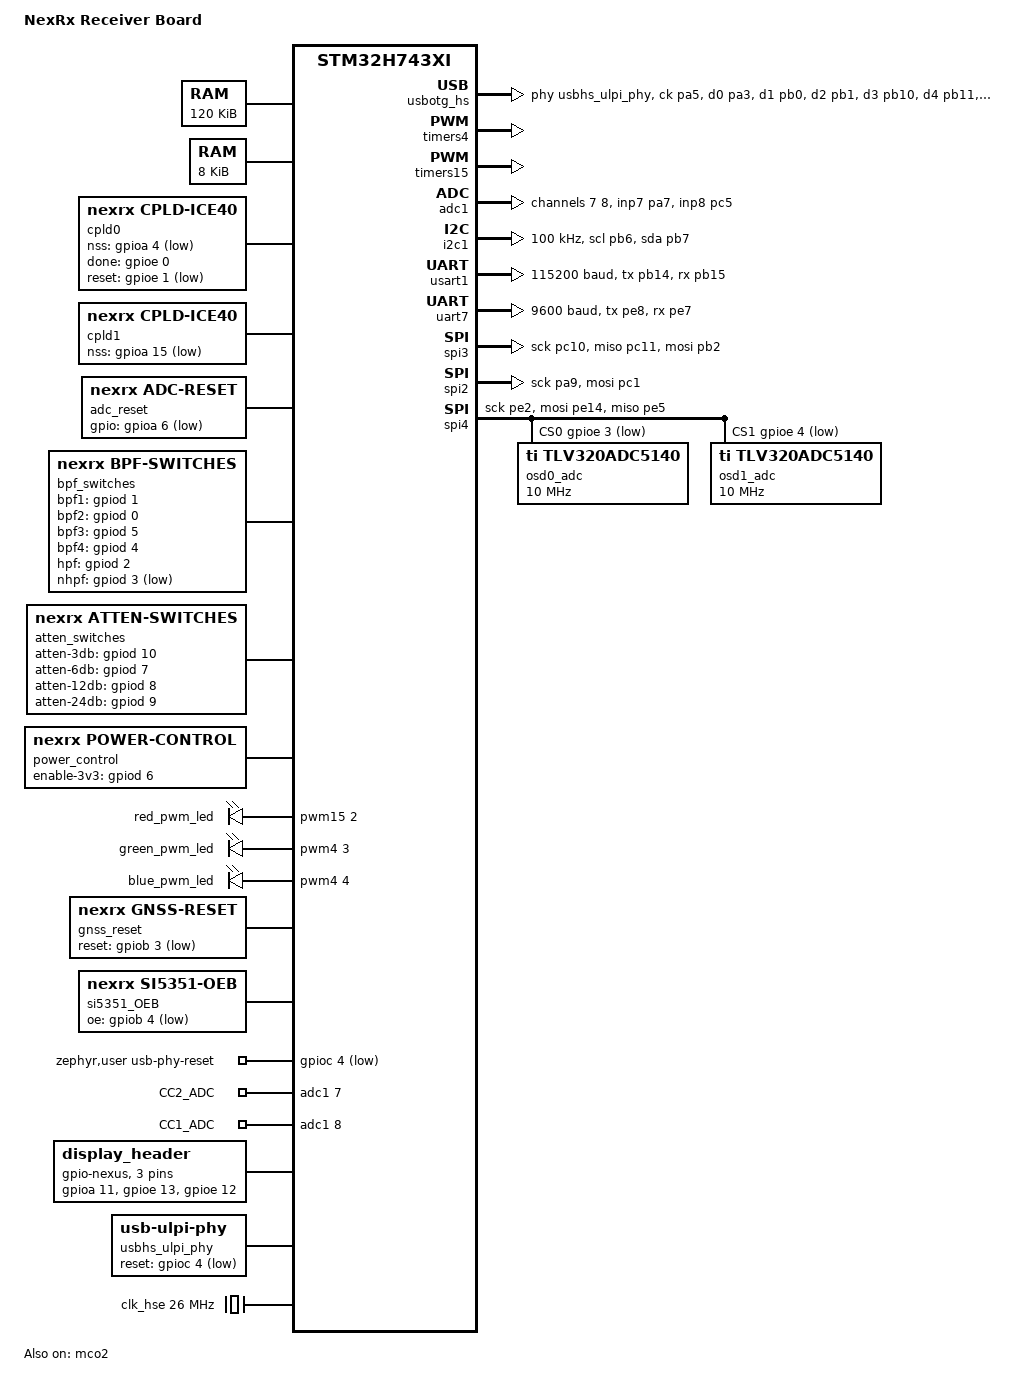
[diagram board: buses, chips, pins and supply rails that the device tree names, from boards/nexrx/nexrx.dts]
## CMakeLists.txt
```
# NexRx STM32H743VIT6 Firmware
# Using Zephyr RTOS with C++20

cmake_minimum_required(VERSION 3.20.0)

list(APPEND BOARD_ROOT ${CMAKE_CURRENT_SOURCE_DIR})

if (NOT DEFINED BOARD AND NOT DEFINED ENV{BOARD})
  set(BOARD nexrx CACHE STRING "Default target board")
endif ()

if (NOT DEFINED SHIELD AND NOT DEFINED ENV{SHIELD})
  set(SHIELD display_uc1609 CACHE STRING "Default display shield")
endif ()

find_package(Zephyr REQUIRED HINTS $ENV{ZEPHYR_BASE})
project(NexRxFW)

# Enable C++20
set(CMAKE_CXX_STANDARD 20)
set(CMAKE_CXX_STANDARD_REQUIRED ON)
target_compile_features(app PRIVATE cxx_std_20)

# Font compiler
find_package(Python3 REQUIRED)

set(fontScript ${CMAKE_CURRENT_SOURCE_DIR}/../tools/ttf-to-cxx.py)
target_include_directories(app PRIVATE src ../CPLD/build/gen)
zephyr_include_directories(${CMAKE_CURRENT_BINARY_DIR})

function(genFont ttf points fontName)
  cmake_parse_arguments(PARSE_ARGV 3 FONT "" "WEIGHT;INDEX;VARIATION" "")

  set(extraArgs "")
  if(FONT_WEIGHT)
    list(APPEND extraArgs --weight ${FONT_WEIGHT})
  endif()
  if(FONT_INDEX)
    list(APPEND extraArgs --index ${FONT_INDEX})
  endif()
  if(FONT_VARIATION)
    list(APPEND extraArgs --variation ${FONT_VARIATION})
  endif()


  set(fontOut ${CMAKE_CURRENT_BINARY_DIR}/${fontName}.cxx)

  target_sources(app PRIVATE ${fontOut})

  add_custom_command(
    OUTPUT  ${fontOut}
    COMMAND ${Python3_EXECUTABLE} ${fontScript} ${ttf} ${points} --name ${fontName} ${extraArgs} > ${fontOut}
    DEPENDS ${fontScript} ${ttf}
    COMMENT "Generating MONO_VTILED C++ font ${fontName} from TTF..."
    VERBATIM
  )
endfunction()

genFont(/usr/share/fonts/truetype/ubuntu/Ubuntu-B.ttf 16 UbuntuB16 VARIATION "Bold")
genFont(/usr/share/fonts/truetype/ubuntu/Ubuntu-M.ttf 15 UbuntuM15)
genFont(/usr/share/fonts/truetype/ubuntu/Ubuntu-B.ttf 14 UbuntuB14 VARIATION "Bold")
genFont(/usr/share/fonts/truetype/ubuntu/Ubuntu-M.ttf 13 UbuntuM13)
genFont(/usr/share/fonts/truetype/ubuntu/Ubuntu-B.ttf 12 UbuntuB12 VARIATION "Bold")
genFont(/usr/share/fonts/truetype/ibm-plex/IBMPlexSans-Light.ttf 12 PlexL12)

# CPLD Bitstream compiler
set(binScript ${CMAKE_CURRENT_SOURCE_DIR}/../tools/bin-to-cxx.py)
set(cpldBin ${CMAKE_CURRENT_SOURCE_DIR}/../CPLD/build/CPLD.bin)
set(cpldOut ${CMAKE_CURRENT_BINARY_DIR}/defaultCPLDBitstream.cxx)

add_custom_command(
  OUTPUT  ${cpldOut}
  COMMAND ${Python3_EXECUTABLE} ${binScript} ${cpldBin} --name defaultCPLDBitstream --namespace nexrx > ${cpldOut}
  DEPENDS ${binScript} ${cpldBin}
  COMMENT "Generating C++ CPLD bitstream from ${cpldBin}..."
  VERBATIM
)

target_sources(app PRIVATE ${cpldOut})

target_include_directories(app PRIVATE ${CMAKE_CURRENT_BINARY_DIR})

add_subdirectory(drivers)

# Source files
target_sources(app PRIVATE 
    src/main.cpp
    src/AGCManager.cpp
    src/Si5351Driver.cpp
    src/CPLDDriver.cpp
    src/TLV320ADC5140.cpp
    src/FrontEndDriver.cpp
    src/USBManager.cpp
    src/OSDCapture.cpp
    src/ControlHandler.cpp
    src/USBCDCTransport.cpp
    src/DisplayManager.cpp
    src/LEDManager.cpp
    src/ShellCommands.cpp
)

# Include directories
target_include_directories(app PRIVATE src)
```

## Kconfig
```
source "Kconfig.zephyr"
rsource "drivers/display/Kconfig"
```

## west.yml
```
manifest:
  remotes:
    - name: zephyrproject-rtos
      url-base: https://github.com/zephyrproject-rtos
  projects:
    - name: zephyr
      remote: zephyrproject-rtos
      revision: v4.4.0
      import: true
  self:
    path: fw
```

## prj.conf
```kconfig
# NexRx Project Configuration (Zephyr v4.1 / STM32H743VIT6)

# General C++ Support
CONFIG_CPP=y
CONFIG_STD_CPP20=y
CONFIG_EXTERNAL_LIBCPP=y
CONFIG_REQUIRES_FULL_LIBCPP=y
#CONFIG_NEWLIB_LIBC=y
CONFIG_PICOLIBC=y

CONFIG_COMMON_LIBC_MALLOC_ARENA_SIZE=16384

# Power Management & Boot
CONFIG_REBOOT=y

# Stack sizes
CONFIG_MAIN_STACK_SIZE=4096
CONFIG_SYSTEM_WORKQUEUE_STACK_SIZE=2048

# RTT for SEGGER debug console
CONFIG_USE_SEGGER_RTT=y
CONFIG_RTT_CONSOLE=n
CONFIG_SHELL_BACKEND_RTT=y
CONFIG_LOG_BACKEND_RTT=n
CONFIG_SEGGER_RTT_SECTION_DTCM=y
CONFIG_SEGGER_RTT_BUFFER_SIZE_UP=16384
CONFIG_SEGGER_RTT_BUFFER_SIZE_DOWN=128

# Console config
CONFIG_CONSOLE=y
CONFIG_UART_CONSOLE=y

# Shell
CONFIG_SHELL=y
CONFIG_SHELL_BACKEND_SERIAL=y
CONFIG_SHELL_BACKEND_SERIAL_INTERRUPT_DRIVEN=y
CONFIG_SHELL_PROMPT_UART="NexRx> "
CONFIG_I2C_SHELL=y
CONFIG_DEVMEM_SHELL=y

# USB device debug
CONFIG_USBD_LOG_LEVEL_INF=y
CONFIG_UDC_DRIVER_LOG_LEVEL_INF=y
CONFIG_USBD_CDC_ACM_LOG_LEVEL_WRN=y

# Peripherals
CONFIG_GPIO=y
CONFIG_SPI=y
CONFIG_I2C=y
CONFIG_ADC=y
CONFIG_I2S=y
CONFIG_DMA=y
CONFIG_SERIAL=y
CONFIG_UART_INTERRUPT_DRIVEN=y
CONFIG_UART_LINE_CTRL=y
CONFIG_USB_DEVICE_STACK_NEXT=y
CONFIG_USBD_CDC_ACM_CLASS=y
CONFIG_UDC_STM32=y

# SPI DMA not supported with DCACHE enabled.
CONFIG_SPI_STM32_DMA=n
CONFIG_SPI_ASYNC=y

CONFIG_LOG_MAX_LEVEL=4
CONFIG_SPI_LOG_LEVEL_DBG=y
CONFIG_DMA_LOG_LEVEL_DBG=y

CONFIG_ICACHE=y
CONFIG_DCACHE=y
CONFIG_CACHE_MANAGEMENT=y

CONFIG_MEM_ATTR=y
CONFIG_NOCACHE_MEMORY=y

# LED status
CONFIG_PWM=y
CONFIG_PWM_STM32=y

# Logging & Debug
CONFIG_LOG=y
CONFIG_LOG_CMDS=y
CONFIG_LOG_BUFFER_SIZE=16384
CONFIG_LOG_BACKEND_SHOW_COLOR=y
CONFIG_LOG_BACKEND_UART=n
CONFIG_LOG_PRINTK=y

# CBOR Support
CONFIG_ZCBOR=y
```

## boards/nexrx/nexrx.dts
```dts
/dts-v1/;
#include <st/h7/stm32h743Xi.dtsi>
#include <st/h7/stm32h743vitx-pinctrl.dtsi>
#include <zephyr/dt-bindings/memory-attr/memory-attr-arm.h>
#include <zephyr/dt-bindings/pwm/pwm.h>

/delete-node/ &sram1;

/ {
	model = "NexRx Receiver Board";
	compatible = "nexrx,nexrx-rx";

	chosen {
		zephyr,sram = &sram0;
		zephyr,flash = &flash0;
		zephyr,nocache = &sram1_nocache;
		zephyr,dtcm = &dtcm;
		//		zephyr,console = &console_uart;
		//		zephyr,shell-uart = &console_uart;
		zephyr,console = &factory_console;
		zephyr,shell-uart = &factory_console;
		zephyr,udc0 = &usbotg_hs;
		zephyr,display = &disp;
	};

	aliases {
		si5351-i2c = &i2c1;
		display-spi = &spi2;
		cpld-spi = &spi3;
		osd-spi = &spi4;

		gnss-uart = &uart7;
	};

	/* Shrink sram1 so it starts after our 8KB carve-out */
	sram1: memory@30002000 {
		compatible = "mmio-sram";
		reg = <0x30002000 0x0001e000>;
	};

	/* Carve out the 8KB (0x2000 bytes) naturally aligned at 0x30000000 */
	sram1_nocache: memory@30000000 {
		compatible = "zephyr,memory-region", "mmio-sram";
		reg = <0x30000000 0x00002000>;
		zephyr,memory-region = "SRAM1_NOCACHE";
		zephyr,memory-attr = <( DT_MEM_ARM(ATTR_MPU_RAM_NOCACHE) )>;
	};

	cpld0: cpld0 {
		compatible = "nexrx,cpld-ice40";
		nss-gpios = <&gpioa 4 GPIO_ACTIVE_LOW>;
		done-gpios = <&gpioe 0 GPIO_ACTIVE_HIGH>;
		reset-gpios = <&gpioe 1 GPIO_ACTIVE_LOW>;
		status = "okay";
	};

	cpld1: cpld1 {
		compatible = "nexrx,cpld-ice40";
		nss-gpios = <&gpioa 15 GPIO_ACTIVE_LOW>;
		status = "okay";
	};

	adc_reset: adc_reset {
		compatible = "nexrx,adc-reset";
		gpios = <&gpioa 6 GPIO_ACTIVE_LOW>;
		status = "okay";
	};

	bpf_switches: bpf_switches {
		compatible = "nexrx,bpf-switches";
		bpf1-gpios = <&gpiod 1 GPIO_ACTIVE_HIGH>;
		bpf2-gpios = <&gpiod 0 GPIO_ACTIVE_HIGH>;
		bpf3-gpios = <&gpiod 5 GPIO_ACTIVE_HIGH>;
		bpf4-gpios = <&gpiod 4 GPIO_ACTIVE_HIGH>;
		hpf-gpios = <&gpiod 2 GPIO_ACTIVE_HIGH>;
		nhpf-gpios = <&gpiod 3 GPIO_ACTIVE_LOW>;
		status = "okay";
	};

	atten_switches: atten_switches {
		compatible = "nexrx,atten-switches";
		atten-3db-gpios = <&gpiod 10 GPIO_ACTIVE_HIGH>;
		atten-6db-gpios = <&gpiod 7 GPIO_ACTIVE_HIGH>;
		atten-12db-gpios = <&gpiod 8 GPIO_ACTIVE_HIGH>;
		atten-24db-gpios = <&gpiod 9 GPIO_ACTIVE_HIGH>;
		status = "okay";
	};

	power_control: power_control {
		compatible = "nexrx,power-control";
		enable-3v3-gpios = <&gpiod 6 GPIO_ACTIVE_HIGH>;
		status = "okay";
	};

	pwmleds {
		compatible = "pwm-leds";

		// Red and blue are swapped in the pinout on EVT boards.
		// XXX Fix this and reverse them back on future boards.
		red_pwm_led: red_pwm_led {
			pwms = <&pwm15 2 PWM_HZ(417) PWM_POLARITY_NORMAL>;
		};
		green_pwm_led: green_pwm_led {
			pwms = <&pwm4 3 PWM_HZ(417) PWM_POLARITY_NORMAL>;
		};
		blue_pwm_led: blue_pwm_led {
			pwms = <&pwm4 4 PWM_HZ(417) PWM_POLARITY_NORMAL>;
		};
	};

	gnss_reset: gnss_reset {
		compatible = "nexrx,gnss-reset";
		reset-gpios = <&gpiob 3 GPIO_ACTIVE_LOW>;
		status = "okay";
	};

	si5351_OEB: si5351_OEB {
		compatible = "nexrx,si5351-oeb";
		oe-gpios = <&gpiob 4 GPIO_ACTIVE_LOW>;
		status = "okay";
	};

	zephyr,user {
		/* USB-C CC Monitor ADC Channels */
		io-channels = <&adc1 7>, <&adc1 8>;
		io-channel-names = "CC2_ADC", "CC1_ADC";
		usb-phy-reset-gpios = <&gpioc 4 GPIO_ACTIVE_LOW>;
	};

	display_header: display-header {
		compatible = "zephyr,gpio-nexus";
		#gpio-cells = <2>;
		gpio-map =
		<0 0 &gpioa 11 0>,  /* PA11: SPI /CS (in software) */
		<1 0 &gpioe 13 0>,  /* PE13: D/C pin */
		<2 0 &gpioe 12 0>;  /* PE12: RESET pin */
	};

	soc {
		usbotg_hs: usb@40040000 {
			compatible = "st,stm32-otghs";
			reg = <0x40040000 0x40000>;
			interrupts = <74 0>, <75 0>, <76 0>, <77 0>;
			interrupt-names = "ep1_out", "ep1_in", "wkup", "otghs";
			num-bidir-endpoints = <9>;
			ram-size = <4096>;
			maximum-speed = "full-speed";
			clocks = <&rcc STM32_CLOCK(AHB1, 25)>,
			<&rcc STM32_SRC_HSI48 USB_SEL(3)>;
			phys = <&otghs_fs_phy>;
			status = "disabled";
		};
	};

	usbhs_ulpi_phy: usbhs_ulpi_phy {
		compatible = "usb-ulpi-phy";
		#phy-cells = <0>;
		reset-gpios = <&gpioc 4 GPIO_ACTIVE_LOW>;
	};
};

&timers4 {
  status = "okay";
  st,prescaler = <239>;

  pwm4: pwm {
    status = "okay";
    pinctrl-0 = <&tim4_ch3_pb8 &tim4_ch4_pb9>;
    pinctrl-names = "default";
  };
};

&timers15 {
  status = "okay";
  st,prescaler = <239>;

  pwm15: pwm {
    status = "okay";
    pinctrl-0 = <&tim15_ch2_pe6>;
    pinctrl-names = "default";
  };
};

&pinctrl {
	usb_otg_hs_ulpi_ck_pa5 {
		slew-rate = "very-high-speed";
	};
	usb_otg_hs_ulpi_d0_pa3 {
		slew-rate = "very-high-speed";
	};
	usb_otg_hs_ulpi_d1_pb0 {
		slew-rate = "very-high-speed";
	};
	usb_otg_hs_ulpi_d2_pb1 {
		slew-rate = "very-high-speed";
	};
	usb_otg_hs_ulpi_d3_pb10 {
		slew-rate = "very-high-speed";
	};
	usb_otg_hs_ulpi_d4_pb11 {
		slew-rate = "very-high-speed";
	};
	usb_otg_hs_ulpi_d5_pb12 {
		slew-rate = "very-high-speed";
	};
	usb_otg_hs_ulpi_d6_pb13 {
		slew-rate = "very-high-speed";
	};
	usb_otg_hs_ulpi_d7_pb5 {
		slew-rate = "very-high-speed";
	};
	usb_otg_hs_ulpi_stp_pc0 {
		slew-rate = "very-high-speed";
	};
	usb_otg_hs_ulpi_dir_pc2_c {
		slew-rate = "very-high-speed";
	};
	usb_otg_hs_ulpi_nxt_pc3_c {
		slew-rate = "very-high-speed";
	};
};

&usbotg_hs {
	pinctrl-0 = <&usb_otg_hs_ulpi_ck_pa5
	&usb_otg_hs_ulpi_d0_pa3
	&usb_otg_hs_ulpi_d1_pb0
	&usb_otg_hs_ulpi_d2_pb1
	&usb_otg_hs_ulpi_d3_pb10
	&usb_otg_hs_ulpi_d4_pb11
	&usb_otg_hs_ulpi_d5_pb12
	&usb_otg_hs_ulpi_d6_pb13
	&usb_otg_hs_ulpi_d7_pb5
	&usb_otg_hs_ulpi_stp_pc0
	&usb_otg_hs_ulpi_dir_pc2_c
	&usb_otg_hs_ulpi_nxt_pc3_c>;
	pinctrl-names = "default";
	clocks = <&rcc STM32_CLOCK_BUS_AHB1 0x06000000>,
	<&rcc STM32_SRC_HSI48 USB_SEL(3)>;
	phys = <&usbhs_ulpi_phy>;
	maximum-speed = "high-speed";
	status = "okay";

	console_uart: cdc_acm_uart0 {
		compatible = "zephyr,cdc-acm-uart";
		label = "NexRx Console";
	};

	control_plane_uart: cdc_acm_uart1 {
		compatible = "zephyr,cdc-acm-uart";
		label = "NexRx Control Plane";
	};
};

&usbotg_fs {
	status = "disabled";
};

&adc1 {				/* USB CC1/CC2 pin sense */
	pinctrl-0 = <&adc1_inp7_pa7 &adc1_inp8_pc5>;
	pinctrl-names = "default";
	st,adc-clock-source = "SYNC";
	st,adc-prescaler = <4>;
	status = "okay";
	#address-cells = <1>;
	#size-cells = <0>;


	usbcc2_adc: channel@7 {
		reg = <7>;
		zephyr,gain = "ADC_GAIN_1";
		zephyr,reference = "ADC_REF_INTERNAL";
		zephyr,acquisition-time = <ADC_ACQ_TIME_DEFAULT>;
		zephyr,resolution = <12>;
	};
	usbcc1_adc: channel@8 {
		reg = <8>;
		zephyr,gain = "ADC_GAIN_1";
		zephyr,reference = "ADC_REF_INTERNAL";
		zephyr,acquisition-time = <ADC_ACQ_TIME_DEFAULT>;
		zephyr,resolution = <12>;
	};
};

&i2c1 {				/* clk (Si5351) I2C */
	pinctrl-0 = <&i2c1_scl_pb6 &i2c1_sda_pb7>;
	pinctrl-names = "default";
	status = "okay";
	clock-frequency = <I2C_BITRATE_STANDARD>;
};

&clk_hse {
	// This will change to 40MHz TCXO in future hw builds
	clock-frequency = <DT_FREQ_M(26)>;
	status = "okay";
};

&mco2 {
	// This will change to when we switch to 40MHz TCXO in future hw builds
	clocks = <&rcc STM32_SRC_HSE MCO2_SEL(2)>;
	prescaler = <MCO2_PRE(MCO_PRE_DIV_1)>;
	pinctrl-0 = <&rcc_mco_2_pc9>;
	pinctrl-names = "default";
	status = "okay";
};

&rcc_mco_2_pc9 {
	slew-rate = "medium-speed"; /* or "high-speed" */
};

&clk_hsi48 {
	status = "okay";
};

&pll {
	div-m = <13>;
	mul-n = <400>;
	div-p = <2>;
	div-q = <2>;
	div-r = <2>;
	clocks = <&clk_hse>;
	status = "okay";
};

&rcc {
	clocks = <&pll>;
	clock-frequency = <DT_FREQ_M(400)>;
	d1cpre = <1>;
	hpre = <2>;
	d1ppre = <2>;
	d2ppre2 = <2>;
	d2ppre1 = <2>;
	d3ppre = <2>;
};

factory_console: &usart1 {			/* FACTORY UART test pads */
	pinctrl-0 = <&usart1_tx_pb14 &usart1_rx_pb15>;
	pinctrl-names = "default";
	current-speed = <115200>;
	status = "okay";
};

&uart7 {			/* GNSS UART */
	pinctrl-0 = <&uart7_tx_pe8 &uart7_rx_pe7>;
	pinctrl-names = "default";
	current-speed = <9600>;
	status = "okay";
};


&spi3 {				/* CPLD0/CPLD1 */
	status = "okay";
	pinctrl-0 = <&spi3_sck_pc10 &spi3_miso_pc11 &spi3_mosi_pb2>;
	pinctrl-names = "default";
	cs-gpios = <&gpioa 4 GPIO_ACTIVE_LOW>, <&gpioa 15 GPIO_ACTIVE_LOW>;
};

&spi3_miso_pc11 {
	/delete-property/ bias-pull-down;
	bias-pull-up;		/* XXX TEMPORARY HACK */
};


&spi2 {				/* Display */
	status = "okay";
	pinctrl-0 = <&spi2_sck_pa9 &spi2_mosi_pc1>;
	pinctrl-names = "default";
	cs-gpios = <&display_header 0 GPIO_ACTIVE_LOW>;
};

&spi4 {				/* OSD0/OSD1 */
	pinctrl-0 = <&spi4_sck_pe2 &spi4_mosi_pe14 &spi4_miso_pe5>;
	pinctrl-names = "default";
	cs-gpios = <&gpioe 3 GPIO_ACTIVE_LOW>, <&gpioe 4 GPIO_ACTIVE_LOW>;
	status = "okay";

	osd0_adc: tlv320adc5140@0 {
		compatible = "ti,tlv320adc5140";
		reg = <0>;
		spi-max-frequency = <10000000>;
	};

	osd1_adc: tlv320adc5140@1 {
		compatible = "ti,tlv320adc5140";
		reg = <1>;
		spi-max-frequency = <10000000>;
	};
};

&pwr {
	power-supply = "ldo";
};
```

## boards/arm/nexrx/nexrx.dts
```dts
/dts-v1/;
#include <st/h7/stm32h753Xi.dtsi>
#include <st/h7/stm32h753v(i-g)tx-pinctrl.dtsi>

/ {
	model = "NexRx Receiver Board";
	compatible = "nexrx,nexrx-rx";

	chosen {
		zephyr,sram = &sram0;
		zephyr,flash = &flash0;
		zephyr,dtcm = &dtcm;
		zephyr,console = &usart6;
		zephyr,shell-uart = &usart6;
		zephyr,display = &st7789v;
	};

	leds {
		compatible = "gpio-leds";
		pwr_3v3: pwr_3v3 {
			gpios = <&gpiod 6 GPIO_ACTIVE_HIGH>;
			label = "3.3V Digital Enable";
		};
		pwr_3va: pwr_3va {
			gpios = <&gpiod 7 GPIO_ACTIVE_HIGH>;
			label = "3.3V Analog Enable";
		};
		pwr_5va: pwr_5va {
			gpios = <&gpiod 8 GPIO_ACTIVE_HIGH>;
			label = "5V Analog Enable";
		};
		pwr_fpgacore: pwr_fpgacore {
			gpios = <&gpiod 9 GPIO_ACTIVE_HIGH>;
			label = "FPGA VCORE Enable";
		};
	};

	nexbus {
		compatible = "nexrx,nexbus";
		pinctrl-0 = <&tim3_ch1_pc6>;
		pinctrl-1 = <&usart6_tx_pc6>;
		pinctrl-names = "mode_a", "mode_b";
		status = "okay";
	};

	fpga {
		compatible = "nexrx,fpga-ice40";
		prog-gpios = <&gpioe 1 GPIO_ACTIVE_LOW>;
		done-gpios = <&gpioe 0 GPIO_ACTIVE_HIGH>;
		nss-gpios = <&gpioa 4 GPIO_ACTIVE_LOW>;
		status = "okay";
	};

	codec {
		compatible = "nexrx,ak5578";
		reset-gpios = <&gpioa 6 GPIO_ACTIVE_LOW>;
		status = "okay";
	};

	zephyr,user {
		/* USB-C CC Monitor ADC Channels */
		io-channels = <&adc1 7>, <&adc1 8>;
		io-channel-names = "CC2_ADC", "CC1_ADC";
	};
};

&zephyr_udc0 {
	status = "okay";
	pinctrl-0 = <&otg_hs_ulpi_ck_pa5 &otg_hs_ulpi_d0_pa3
		     &otg_hs_ulpi_d1_pb0 &otg_hs_ulpi_d2_pb1
		     &otg_hs_ulpi_d3_pb10 &otg_hs_ulpi_d4_pb11
		     &otg_hs_ulpi_d5_pb12 &otg_hs_ulpi_d6_pb13
		     &otg_hs_ulpi_d7_pb5 &otg_hs_ulpi_dir_pc2
		     &otg_hs_ulpi_nxt_pc3 &otg_hs_ulpi_stp_pc0>;
	pinctrl-names = "default";

	usb_device_0: usb_device_0 {
		compatible = "zephyr,usb-device";
		status = "okay";

		cdc_acm_uart0: cdc_acm_uart0 {
			compatible = "zephyr,cdc-acm-uart";
			label = "CDC_ACM_0";
		};

		cdc_acm_uart1: cdc_acm_uart1 {
			compatible = "zephyr,cdc-acm-uart";
			label = "CDC_ACM_1";
		};

		iq_data_pump: iq_data_pump {
			compatible = "zephyr,usb-vendor-bulk";
			status = "okay";
		};
	};
};

&adc1 {
	pinctrl-0 = <&adc1_inp7_pa7 &adc1_inp8_pc5>;
	pinctrl-names = "default";
	status = "okay";
	#address-cells = <1>;
	#size-cells = <0>;
	channel@7 {
		reg = <7>;
		zephyr,gain = "ADC_GAIN_1";
		zephyr,reference = "ADC_REF_INTERNAL";
		zephyr,acquisition-time = <ADC_ACQ_TIME_DEFAULT>;
		zephyr,resolution = <12>;
	};
	channel@8 {
		reg = <8>;
		zephyr,gain = "ADC_GAIN_1";
		zephyr,reference = "ADC_REF_INTERNAL";
		zephyr,acquisition-time = <ADC_ACQ_TIME_DEFAULT>;
		zephyr,resolution = <12>;
	};
};

&i2c4 {
	pinctrl-0 = <&i2c4_scl_pd12 &i2c4_sda_pd13>;
	pinctrl-names = "default";
	status = "okay";
	clock-frequency = <I2C_BITRATE_STANDARD>;
};

&clk_hse {
	clock-frequency = <DT_FREQ_M(26)>;
	status = "okay";
};

&pll {
	div-m = <13>;
	mul-n = <400>;
	div-p = <2>;
	div-q = <2>;
	div-r = <2>;
	clocks = <&clk_hse>;
	status = "okay";
};

&rcc {
	clocks = <&pll>;
	clock-frequency = <DT_FREQ_M(400)>;
	d1cpre = <1>;
	hpre = <2>;
	d1ppre = <2>;
	d2ppre2 = <2>;
	d2ppre1 = <2>;
	d3ppre = <2>;
};

&usart6 {
	pinctrl-0 = <&usart6_tx_pc6>;
	pinctrl-names = "default";
	current-speed = <115200>;
	status = "okay";
};

&tim3 {
	status = "okay";
	st,prescaler = <0>;
	pinctrl-0 = <&tim3_ch1_pc6>;
	pinctrl-names = "default";
	dmas = <&dma1 0 22 0x440>; 
	dma-names = "ch1";
	pwm1: pwm {
		status = "okay";
		st,prescaler = <0>;
	};
};

&spi3 {
	pinctrl-0 = <&spi3_sck_pc10 &spi3_miso_pc11 &spi3_mosi_pb2>;
	pinctrl-names = "default";
	status = "okay";
};

&spi2 {
	pinctrl-0 = <&spi2_sck_pa9 &spi2_mosi_pc1>;
	pinctrl-names = "default";
	cs-gpios = <&gpioa 11 GPIO_ACTIVE_LOW>;
	status = "okay";

	st7789v: st7789v@0 {
		compatible = "sitronix,st7789v";
		reg = <0>;
		spi-max-frequency = <32000000>;
		reset-gpios = <&gpioe 12 GPIO_ACTIVE_LOW>;
		dc-gpios = <&gpioe 13 GPIO_ACTIVE_LOW>;
		width = <240>;
		height = <135>;
		x-offset = <0>;
		y-offset = <40>;
		vcom = <0x19>;
		gctrl = <0x35>;
		vrhs = <0x12>;
		vdvs = <0x20>;
		mdac = <0x00>;
		gamma = <0x01>;
		colmod = <0x05>;
		lcm = <0x2c>;
		porch-param = [0c 0c 00 33 33];
		cmd2en-param = [33 06 04];
		pwctrl1-param = [a4 a1];
		pvgam-param = [d0 04 0d 11 13 2b 3f 54 4c 18 0d 0b 1f 23];
		nvgam-param = [d0 04 0c 11 13 2c 3f 44 51 2f 1f 1f 20 23];
		ram-param = [00 f0];
		rgb-param = [cd 08 14];
	};
};

&spi4 {
	pinctrl-0 = <&spi4_sck_pe2 &spi4_mosi_pe14>;
	pinctrl-names = "default";
	cs-gpios = <&gpioe 4 GPIO_ACTIVE_LOW>;
	status = "okay";
};

&sai3 {
	status = "okay";
	pinctrl-0 = <&sai3_a_mclk_pd15 &sai3_a_sck_pd0 
		     &sai3_a_fs_pd4 &sai3_a_sd_pd1>;
	pinctrl-names = "default";
	sai3_a: sai3_a {
		status = "okay";
		st,sync-type = "master";
		dmas = <&dma1 1 89 0x440>; 
		dma-names = "rx";
	};
};

&sai2 {
	status = "okay";
	pinctrl-0 = <&sai2_a_sd_pd11 &sai2_b_sd_pa0>;
	pinctrl-names = "default";
	sai2_a: sai2_a {
		status = "okay";
		st,sync-type = "slave";
		st,sync-source = <&sai3_a>;
		dmas = <&dma1 2 87 0x440>; 
		dma-names = "rx";
	};
	sai2_b: sai2_b {
		status = "okay";
		st,sync-type = "slave";
		st,sync-source = <&sai3_a>;
		dmas = <&dma1 3 88 0x440>; 
		dma-names = "rx";
	};
};

&sai4 {
	status = "okay";
	pinctrl-0 = <&sai4_a_sd_pe6>;
	pinctrl-names = "default";
	sai4_a: sai4_a {
		status = "okay";
		st,sync-type = "slave";
		st,sync-source = <&sai3_a>;
		dmas = <&dma1 4 102 0x440>; 
		dma-names = "rx";
	};
};
```

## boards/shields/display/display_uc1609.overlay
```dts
#include <zephyr/dt-bindings/gpio/gpio.h>
#include <zephyr/dt-bindings/spi/spi.h>
#include <zephyr/dt-bindings/memory-attr/memory-attr-arm.h>
#include <zephyr/dt-bindings/dma/stm32_dma.h>

/ {
	chosen {
		zephyr,display = &disp;
	};

	display_header: display-header {
		compatible = "zephyr,gpio-nexus";
		#gpio-cells = <2>;
		gpio-map-mask = <0xffffffff 0x0>;
		gpio-map-pass-thru = <0x0 0xffffffff>;
	};
};

&dma1 {
	status = "okay";
};

&dma2 {
	status = "okay";
};

&dmamux1 {
	status = "okay";
};


&spi2 {
	status = "okay";

	dmas = <&dmamux1 2 40 (STM32_DMA_PERIPH_TX | STM32_DMA_PRIORITY_MEDIUM)>,
               <&dmamux1 3 39 (STM32_DMA_PERIPH_RX | STM32_DMA_PRIORITY_MEDIUM)>;
	dma-names = "tx", "rx";

	disp: display@0 {
		compatible = "zephyr,uc1609";
		reg = <0>;
		spi-max-frequency = <2000000>;
		width = <192>;
		height = <64>;

		data-cmd-gpios = <&display_header 1 GPIO_ACTIVE_HIGH>;
		reset-gpios    = <&display_header 2 GPIO_ACTIVE_LOW>;
	};
};
```

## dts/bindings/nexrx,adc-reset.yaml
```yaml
# Copyright (c) 2026 Starview Labs (starviewlabs.com)
# SPDX-License-Identifier: Apache-2.0

description: NexRx ADC Reset Control

compatible: "nexrx,adc-reset"

properties:
  gpios:
    type: phandle-array
    description: Reset GPIO pin
```

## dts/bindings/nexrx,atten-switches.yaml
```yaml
# Copyright (c) 2026 Starview Labs (starviewlabs.com)
# SPDX-License-Identifier: Apache-2.0

description: NexRx Step Attenuator Switches

compatible: "nexrx,atten-switches"

properties:
  atten-3db-gpios:
    type: phandle-array
    description: 3dB Attenuator GPIO pin

  atten-6db-gpios:
    type: phandle-array
    description: 6dB Attenuator GPIO pin

  atten-12db-gpios:
    type: phandle-array
    description: 12dB Attenuator GPIO pin

  atten-24db-gpios:
    type: phandle-array
    description: 24dB Attenuator GPIO pin
```

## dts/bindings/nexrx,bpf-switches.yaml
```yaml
# Copyright (c) 2026 Starview Labs (starviewlabs.com)
# SPDX-License-Identifier: Apache-2.0

description: NexRx Bandpass and Highpass Filter Switches

compatible: "nexrx,bpf-switches"

properties:
  bpf1-gpios:
    type: phandle-array
    description: BPF 1 GPIO pin

  bpf2-gpios:
    type: phandle-array
    description: BPF 2 GPIO pin

  bpf3-gpios:
    type: phandle-array
    description: BPF 3 GPIO pin

  bpf4-gpios:
    type: phandle-array
    description: BPF 4 GPIO pin

  hpf-gpios:
    type: phandle-array
    description: HPF GPIO pin

  nhpf-gpios:
    type: phandle-array
    description: Not-HPF GPIO pin
```

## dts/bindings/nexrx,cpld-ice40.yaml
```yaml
# Copyright (c) 2026 Starview Labs (starviewlabs.com)
# SPDX-License-Identifier: Apache-2.0

description: NexRx Dual iCE40 CPLD

compatible: "nexrx,cpld-ice40"

properties:
  reset-gpios:
    type: phandle-array
    description: Reset GPIO pin

  done-gpios:
    type: phandle-array
    description: Done GPIO pin

  nss-gpios:
    type: phandle-array
    description: Slave select GPIO pin
```

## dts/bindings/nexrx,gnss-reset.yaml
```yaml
# Copyright (c) 2026 Starview Labs (starviewlabs.com)
# SPDX-License-Identifier: Apache-2.0

description: NexRx GNSS Reset Control

compatible: "nexrx,gnss-reset"

properties:
  reset-gpios:
    type: phandle-array
    description: Reset GPIO pin
```

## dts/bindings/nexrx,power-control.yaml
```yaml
# Copyright (c) 2026 Starview Labs (starviewlabs.com)
# SPDX-License-Identifier: Apache-2.0

description: NexRx Power Rail Control

compatible: "nexrx,power-control"

properties:
  enable-3v3-gpios:
    type: phandle-array
    description: 3.3V Power Rail Enable GPIO pin
```

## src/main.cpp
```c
#include <zephyr/kernel.h>
#include <zephyr/logging/log.h>
#include <zephyr/drivers/gpio.h>
#include <zephyr/init.h>

#include "FrontEndDriver.hpp"
#include "Si5351Driver.hpp"
#include "CPLDDriver.hpp"
#include "TLV320ADC5140.hpp"
#include "DisplayManager.hpp"
#include "USBManager.hpp"
#include "OSDCapture.hpp"
#include "ControlHandler.hpp"
#include "USBCDCTransport.hpp"
#include "LEDManager.hpp"

LOG_MODULE_REGISTER(nexrx_main, LOG_LEVEL_INF);


static const struct gpio_dt_spec usbPHYReset =
    GPIO_DT_SPEC_GET(DT_NODELABEL(usbhs_ulpi_phy), reset_gpios);

constexpr int resetHoldMs = 5;
constexpr int pllLockDelayMs = 10;

static int resetUSBPHY() {
  LOG_ERR("resetUSBPHY start");

  bool hseReady = (RCC->CR & RCC_CR_HSERDY) != 0U;
  static constexpr uint32_t mco2SourceHSE = (2U << RCC_CFGR_MCO2_Pos);
  uint32_t mco2Source = RCC->CFGR & RCC_CFGR_MCO2_Msk;
  uint32_t mco2Pre = (RCC->CFGR & RCC_CFGR_MCO2PRE_Msk) >> RCC_CFGR_MCO2PRE_Pos;

  LOG_ERR("check MCO2 output");
  if (!hseReady || mco2Source != mco2SourceHSE || mco2Pre == 0U) {
    LOG_ERR("USB clock output MCO2 not ready");
    return -EIO;
  }

  if (!gpio_is_ready_dt(&usbPHYReset)) {
    LOG_ERR("USB reset GPIO not ready");
    return -ENODEV;
  }

  LOG_ERR("resetUSBPHY assert");

  // Assert /RESET (drive PC4 low because of GPIO_ACTIVE_LOW)
  int err = gpio_pin_configure_dt(&usbPHYReset, GPIO_OUTPUT_ACTIVE);
  if (err != 0) {
    LOG_ERR("Failed to assert USB PHY reset: %d", err);
    return err;
  }
  k_msleep(resetHoldMs);

  LOG_ERR("resetUSBPHY deassert");

  // Deassert /RESET (drive PC4 high) and wait for 60 MHz CLKOUT to stabilize
  err = gpio_pin_set_dt(&usbPHYReset, 0);
  if (err != 0) {
    LOG_ERR("Failed to deassert USB PHY reset: %d", err);
    return err;
  }
  k_msleep(pllLockDelayMs);

  LOG_INF("USB PHY reset pulse complete, PC4 deasserted (3.3V)");
  LOG_ERR("resetUSBPHY done");
  return 0;
}

SYS_INIT(resetUSBPHY, POST_KERNEL, 45);



int main() {
  printk("\r\n=== NexRx Factory UART Console Online (115200 8N1) ===\r\n");

  nexrx::LEDManager::instance().init();

  nexrx::USBManager::init();
  LOG_INF("NexRx MCU Firmware Starting (STM32H743VIT6 / STM32H753VIT6)...");

  nexrx::DisplayManager::init();
  nexrx::DisplayManager::showStatus("BOOTING...");

  nexrx::FrontEndDriver::init();

  nexrx::LEDManager::instance().onCPLDConfig();
  nexrx::CPLDDriver::init();

  nexrx::LEDManager::instance().onSi5351Setup();
  nexrx::Si5351Driver::init();

  nexrx::TLV320ADC5140::init();

  nexrx::OSDCapture::init();

  nexrx::LEDManager::instance().onUSBConfig();

  static nexrx::USBCDCTransport controlTransport;
  controlTransport.init();

  nexrx::LEDManager::instance().onReady();
  LOG_INF("System Initialization Complete. Automatic power hardware ready.");
  if (nexrx::CPLDDriver::isConfigured()) {
    nexrx::DisplayManager::showStatus("READY");
  } else {
    nexrx::DisplayManager::showStatus("WAIT CPLD");
  }

  while (true) {
#if 0
    // XXX temporarily just keep reading signature so I can look with scope.
    (void) nexrx::CPLDDriver::readSignature(0);
    uint32_t sig = 0;
    (void) nexrx::CPLDDriver::readRegister(CPLDAddr::aCPLDSig, sig, 0);
    LOG_INF("CPLD0 sig=0x%08X", static_cast<unsigned>(sig));
    (void) nexrx::CPLDDriver::readRegister(CPLDAddr::aCPLDSig, sig, 1);
    LOG_INF("CPLD1 sig=0x%08X", static_cast<unsigned>(sig));
#endif

    /* Process incoming control messages */
    nexrx::ControlHandler::instance().process(controlTransport);
    k_sleep(K_MSEC(10000));
  }

  return 0;
}
```

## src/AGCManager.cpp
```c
#include "AGCManager.hpp"
#include <zephyr/logging/log.h>
#include <cmath>
#include <algorithm>
#include "TLV320ADC5140.hpp"
#include "FrontEndDriver.hpp"

LOG_MODULE_DECLARE(nexrx_main, LOG_LEVEL_INF);

namespace nexrx {

AGCManager::Mode AGCManager::currentMode = Mode::MANUAL;
float AGCManager::targetHeadroomDB = -15.0f;
int32_t AGCManager::currentPGACode = 0;
int32_t AGCManager::currentAttenDB = 0;

/* Internal Gain State (in dB) */
static float virtualGainDB = 0.0f;
static float lastPeakDB = -100.0f;

void AGCManager::init() {
  currentMode = Mode::MANUAL;
  virtualGainDB = 20.0f; /* Start with baseline gain */
  applyHardwareGain();
}

void AGCManager::setMode(Mode mode) {
  currentMode = mode;
  LOG_INF("AGC: Mode set to %d", static_cast<int>(mode));
}

void AGCManager::processReflex(int32_t peakValue) {
  if (currentMode == Mode::MANUAL) {
    return;
  }

  /* 1. Convert peak to dBFS */
  float peakDB = 20.0f * std::log10(std::max(1, std::abs(peakValue)) / 8388607.0f);
  lastPeakDB = peakDB;

  /* 2. Calculate Error relative to target headroom */
  float error = peakDB - targetHeadroomDB;

  /* 3. Apply Attack/Decay Timing */
  if (error > 0) {
    /* ATTACK: Drop gain fast */
    virtualGainDB -= error * 0.5f; 
  } else {
    /* DECAY: Increase gain slowly based on mode */
    float decayFactor = 0.001f;
    if (currentMode == Mode::FAST) {
      decayFactor = 0.05f;
    }
    if (currentMode == Mode::MEDIUM) {
      decayFactor = 0.01f;
    }
    virtualGainDB -= error * decayFactor;
  }

  /* 4. Clamp to hardware limits */
  virtualGainDB = std::clamp(virtualGainDB, 0.0f, 60.0f);

  /* 5. Update Hardware if change is significant (> 0.5 dB) */
  static float lastAppliedGain = -1.0f;
  if (std::abs(virtualGainDB - lastAppliedGain) > 0.5f) {
    setTotalGain(virtualGainDB);
    lastAppliedGain = virtualGainDB;
  }
}

void AGCManager::setTotalGain(float totalGainDB) {
  int32_t newAtten = static_cast<int32_t>(std::floor(totalGainDB / 3.0f) * 3.0f);
  newAtten = std::clamp(newAtten, 0, 45);

  int32_t newPGA = static_cast<int32_t>(totalGainDB - newAtten);
  newPGA = std::clamp(newPGA, 0, 42);

  currentAttenDB = newAtten;
  currentPGACode = newPGA;
  
  applyHardwareGain();
}

void AGCManager::applyHardwareGain() {
  FrontEndDriver::setAttenuation(currentAttenDB);
  TLV320ADC5140::setPGAGain(static_cast<uint8_t>(currentPGACode));
}

} // namespace nexrx
```

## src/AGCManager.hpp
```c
#pragma once

#include <zephyr/kernel.h>
#include <stdint.h>

namespace nexrx {

class AGCManager {
public:
  enum class Mode {
    FAST,
    MEDIUM,
    SLOW,
    MANUAL
  };

  static void init();
  static void setMode(Mode mode);
  
  /**
   * @brief High-priority reflex update.
   * Called by the QSDCapture thread after peak detection.
   * @param peakValue Maximum absolute value in the current buffer.
   */
  static void processReflex(int32_t peakValue);

  /**
   * @brief Sets total system gain in dB.
   * Internal logic coordinates attenuator pads and TLV320ADC5140 PGA gain.
   * @param totalGainDB Total gain relative to MDS.
   */
  static void setTotalGain(float totalGainDB);

private:
  static Mode currentMode;
  static float targetHeadroomDB; /* Default -15.0 dBFS */
  static int32_t currentPGACode;
  static int32_t currentAttenDB;

  static void applyHardwareGain();
};

} // namespace nexrx
```

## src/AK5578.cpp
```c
#include "AK5578.hpp"
#include <zephyr/logging/log.h>

LOG_MODULE_REGISTER(AK5578, LOG_LEVEL_INF);

namespace nexrx {

void AK5578::init() {
  LOG_INF("AK5578 8-Channel 24-bit 96kS/s Audio Codec initialized.");
}

void AK5578::reset() {
  LOG_INF("AK5578 reset performed.");
}

} // namespace nexrx
```

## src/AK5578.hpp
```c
#ifndef NEXRX_AK5578_HPP
#define NEXRX_AK5578_HPP

#include <zephyr/kernel.h>
#include <stdint.h>

namespace nexrx {

class AK5578 {
public:
  static void init();
  static void reset();
};

} // namespace nexrx

#endif // NEXRX_AK5578_HPP
```

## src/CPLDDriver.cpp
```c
#include "CPLDDriver.hpp"
#include "defaultCPLDBitstream.hpp"
#include <zephyr/logging/log.h>
#include <zephyr/drivers/gpio.h>
#include <zephyr/drivers/spi.h>

LOG_MODULE_REGISTER(cpld_driver, LOG_LEVEL_INF);

namespace nexrx {

namespace {

const struct gpio_dt_spec cresetGPIO = GPIO_DT_SPEC_GET_OR(DT_NODELABEL(cpld0), reset_gpios, {0});
const struct gpio_dt_spec doneGPIO = GPIO_DT_SPEC_GET_OR(DT_NODELABEL(cpld0), done_gpios, {0});
const struct gpio_dt_spec nss0GPIO = GPIO_DT_SPEC_GET_OR(DT_NODELABEL(cpld0), nss_gpios, {0});
const struct gpio_dt_spec nss1GPIO = GPIO_DT_SPEC_GET_OR(DT_NODELABEL(cpld1), nss_gpios, {0});

} // namespace

const struct device* CPLDDriver::getSPIDevice() {
  static const struct device* dev = DEVICE_DT_GET(DT_ALIAS(cpld_spi));
  return dev;
}

int CPLDDriver::writeRegister(uint8_t addr, uint32_t data, int cpldIndex) {
  const struct device* dev = getSPIDevice();
  // CPLD SPI Protocol: Bit 7 = 1 for Write, Bits [6:0] = Register Address
  uint8_t txBuf[5] = {
    static_cast<uint8_t>((addr & 0x7F) | 0x80),
    static_cast<uint8_t>((data >> 24) & 0xFF),
    static_cast<uint8_t>((data >> 16) & 0xFF),
    static_cast<uint8_t>((data >> 8) & 0xFF),
    static_cast<uint8_t>(data & 0xFF)
  };
  struct spi_buf buf = {.buf = txBuf, .len = sizeof(txBuf)};
  struct spi_buf_set tx = {.buffers = &buf, .count = 1};

  struct spi_config config = {
    .frequency = 1700000,	// XXX could be 10MHz later
    .operation = SPI_OP_MODE_MASTER | SPI_TRANSFER_MSB | SPI_WORD_SET(8),
    .slave = 0,
  };

  if (cpldIndex != 0 && cpldIndex != 1 && cpldIndex != BOTH_CPLDS) return -EINVAL;
  if (cpldIndex == 0 || cpldIndex == BOTH_CPLDS) gpio_pin_set_dt(&nss0GPIO, 1);
  if (cpldIndex == 1 || cpldIndex == BOTH_CPLDS) gpio_pin_set_dt(&nss1GPIO, 1);
  int ret = spi_write(dev, &config, &tx);
  gpio_pin_set_dt(&nss0GPIO, 0);
  gpio_pin_set_dt(&nss1GPIO, 0);
  return ret;
}

int CPLDDriver::readRegister(uint8_t addr, uint32_t &data, int cpldIndex) {
  const struct device* dev = getSPIDevice();
  // CPLD SPI Protocol: Bit 7 = 0 for Read, Bits [6:0] = Register Address
  uint8_t txBuf[] = {static_cast<uint8_t>(addr & 0x7Fu), 0, 0, 0, 0};
  uint8_t rxBuf[] = {0, 0, 0, 0, 0};

  struct spi_buf txStruct = {.buf = txBuf, .len = sizeof(txBuf)};
  struct spi_buf rxStruct = {.buf = rxBuf, .len = sizeof(rxBuf)};
  struct spi_buf_set tx = {.buffers = &txStruct, .count = 1};
  struct spi_buf_set rx = {.buffers = &rxStruct, .count = 1};

  struct spi_config config = {
    .frequency = 1700000,	// XXX this could be 10MHz
    .operation = SPI_OP_MODE_MASTER | SPI_TRANSFER_MSB | SPI_WORD_SET(8),
    .slave = 0,
  };

  auto nssGPIOPtr = cpldIndex == 0 ? &nss0GPIO : &nss1GPIO;
  gpio_pin_set_dt(nssGPIOPtr, 1);
  int ret = spi_transceive(dev, &config, &tx, &rx);
  gpio_pin_set_dt(nssGPIOPtr, 0);

  data = (static_cast<uint32_t>(rxBuf[1]) << 24) |
    (static_cast<uint32_t>(rxBuf[2]) << 16) |
    (static_cast<uint32_t>(rxBuf[3]) << 8)  |
    (static_cast<uint32_t>(rxBuf[4]));

  return ret;
}

void CPLDDriver::init() {
  LOG_INF("Initializing Dual CPLD Interface...");
  if (device_is_ready(cresetGPIO.port)) {
    gpio_pin_configure_dt(&cresetGPIO, GPIO_OUTPUT_INACTIVE);
  }
  if (device_is_ready(doneGPIO.port)) {
    gpio_pin_configure_dt(&doneGPIO, GPIO_INPUT);
  }
  if (device_is_ready(nss0GPIO.port)) {
    gpio_pin_configure_dt(&nss0GPIO, GPIO_OUTPUT_INACTIVE);
  }
  if (device_is_ready(nss1GPIO.port)) {
    gpio_pin_configure_dt(&nss1GPIO, GPIO_OUTPUT_INACTIVE);
  }

  LOG_INF("Programming default embedded bitstream...");
  programDefaultBitstream();
}

bool CPLDDriver::isConfigured() {
  if (device_is_ready(doneGPIO.port)) {
    return (gpio_pin_get_dt(&doneGPIO) > 0);
  }
  return false;
}

bool CPLDDriver::programDefaultBitstream() {
  LOG_INF("Programming embedded default bitstream (%u bytes)...",
          static_cast<unsigned int>(defaultCPLDBitstreamLen));
  return programBitstream(defaultCPLDBitstream, defaultCPLDBitstreamLen);
}

bool CPLDDriver::programBitstream(const uint8_t* data, size_t length) {
  if (!data || length == 0) {
    LOG_ERR("CPLD Program: Invalid bitstream data");
    return false;
  }

  const struct device* spiDev = getSPIDevice();
  if (!device_is_ready(spiDev)) {
    LOG_ERR("CPLD Program: SPI3 device not ready");
    return false;
  }

  if (!device_is_ready(cresetGPIO.port) ||
      !device_is_ready(nss0GPIO.port) ||
      !device_is_ready(nss1GPIO.port))
  {
    LOG_ERR("CPLD Program: CPLD GPIOs not ready");
    return false;
  }

  LOG_INF("CPLD Program: Starting slave SPI configuration (%u bytes)...",
	  static_cast<unsigned>(length));

  // Enter Configuration Mode: Pulse CRESET low
  gpio_pin_set_dt(&cresetGPIO, 1); // Active low asserted
  gpio_pin_set_dt(&nss0GPIO, 1);  // Hold both NSS low
  gpio_pin_set_dt(&nss1GPIO, 1);
  k_sleep(K_MSEC(1));		// >= 500 us reset pulse

  // Release CRESET while keeping NSS low
  gpio_pin_set_dt(&cresetGPIO, 0); // Active low deasserted
  k_sleep(K_MSEC(2)); // Wait > 1200 us for internal housekeeping / RAM clear

  // Stream bitstream over SPI3 simultaneously to both CPLDs
  struct spi_config config = {
    .frequency = 10000000, // 10 MHz
    .operation = SPI_OP_MODE_MASTER | SPI_TRANSFER_MSB | SPI_WORD_SET(8),
    .slave = 0,
  };

  struct spi_buf txBuf = { .buf = const_cast<uint8_t*>(data), .len = length };
  struct spi_buf_set txSet = { .buffers = &txBuf, .count = 1 };
  int ret = spi_write(spiDev, &config, &txSet);
  if (ret != 0) {
    LOG_ERR("CPLD Program: SPI write failed (%d)", ret);
    return false;
  }

  // Send dummy clocks (16 bytes = 128 clock cycles) while monitoring DONE
  uint8_t dummy[16] = {0};
  struct spi_buf dummyBuf = { .buf = dummy, .len = sizeof(dummy) };
  struct spi_buf_set dummySet = { .buffers = &dummyBuf, .count = 1 };
  spi_write(spiDev, &config, &dummySet);

  // Check DONE pin
  bool done = isConfigured();
  if (!done) {
    LOG_ERR("CPLD Program: DONE pin did not assert!");
    return false;
  }

  // Deassert chip selects high
  gpio_pin_set_dt(&nss0GPIO, 0);
  gpio_pin_set_dt(&nss1GPIO, 0);
  k_sleep(K_MSEC(2));

  LOG_INF("CPLD Program: DONE asserted successfully.");

  // Send dummy clocks with NSS high to transition CPLDs to user mode
  spi_write(spiDev, &config, &dummySet);
  k_sleep(K_MSEC(2));

  // Validate user register signatures on both CPLDs
  return readBothSignatures();
}

bool CPLDDriver::readSignature(int cpldIndex) {
  uint32_t sig = 0;
  if (readRegister(regSig, sig, cpldIndex) == 0) {
    if (sig == expectedSig) {
      LOG_INF("CPLD %d Signature Validated: 0x%08X (NxRx)", cpldIndex, sig);
      return true;
    }
    LOG_WRN("CPLD %d Signature Mismatch: 0x%08X (Expected 0x%08X)", cpldIndex, sig, expectedSig);
  }
  return false;
}

bool CPLDDriver::readBothSignatures() {
  bool ok0 = readSignature(0);
  bool ok1 = readSignature(1);
  return (ok0 && ok1);
}

void CPLDDriver::setClockMode(bool isFourPhase) {
  uint32_t ctrl = isFourPhase ? 0x01 : 0x00;
  LOG_INF("Setting CPLD Clock Mode: %s", isFourPhase ? "4-Phase QSD" : "8-Phase OSD");
  writeRegister(regControl, ctrl, BOTH_CPLDS); // Broadcast to both CPLDs
}

uint32_t CPLDDriver::getTCXOCounter(int cpldIndex) {
  uint32_t count = 0;
  readRegister(regCounter, count, cpldIndex);
  return count;
}

} // namespace nexrx
```

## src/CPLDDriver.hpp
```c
#pragma once

#include <stdint.h>
#include <zephyr/kernel.h>
#include <zephyr/drivers/spi.h>
#include <regs.h>

namespace nexrx {

class CPLDDriver {
public:
  /* Register Addresses */
  static constexpr uint8_t regControl = CPLDAddr::aCPLDControl;
  static constexpr uint8_t regCounter = CPLDAddr::aCPLDCounter;
  static constexpr uint8_t regSig     = CPLDAddr::aCPLDSig;

  static constexpr uint32_t expectedSig = CPLDSig::eVal; /* "NxRx" */
  static constexpr int BOTH_CPLDS = -1;

  static void init();
  static bool isConfigured();
  static bool programBitstream(const uint8_t* data, size_t length);
  static bool programDefaultBitstream();
  static bool readSignature(int cpldIndex = 0);
  static bool readBothSignatures();
  static void setClockMode(bool isFourPhase);
  static uint32_t getTCXOCounter(int cpldIndex = 0);
  static uint64_t getLatchedTCXOCount(int cpldIndex = 0) {
    return static_cast<uint64_t>(getTCXOCounter(cpldIndex));
  }

  static int writeRegister(uint8_t addr, uint32_t data, int cpldIndex = BOTH_CPLDS);
  static int readRegister(uint8_t addr, uint32_t &data, int cpldIndex);

private:
  static const struct device* getSPIDevice();
};

} // namespace nexrx
```

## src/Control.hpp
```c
#pragma once

#include <stdint.h>

namespace nexrx {

/* Helper to convert 4-character strings to uint32_t at compile time */
static constexpr uint32_t makeControlId(const char s[5]) {
  return (static_cast<uint32_t>(s[0]) << 24) |
         (static_cast<uint32_t>(s[1]) << 16) |
         (static_cast<uint32_t>(s[2]) << 8)  |
         (static_cast<uint32_t>(s[3]));
}

class Control {
public:
  /* Command IDs */
  static constexpr uint32_t CMD_SET_VFO         = makeControlId("SVFO");
  static constexpr uint32_t CMD_SET_ATTEN       = makeControlId("SATT");
  static constexpr uint32_t CMD_SET_PGA_GAIN    = makeControlId("SPGA");
  static constexpr uint32_t CMD_SET_AGC_MODE    = makeControlId("SAGC");
  static constexpr uint32_t CMD_SET_TR_MODE     = makeControlId("STRM");
  static constexpr uint32_t CMD_START_STREAM    = makeControlId("STM[");
  static constexpr uint32_t CMD_STOP_STREAM     = makeControlId("]STM");
  static constexpr uint32_t CMD_GET_TIMESTAMP   = makeControlId("GTIM");
  static constexpr uint32_t CMD_SET_ISG_FREQ    = makeControlId("SIFQ");
  static constexpr uint32_t CMD_SET_ISG_ENABLE  = makeControlId("SIEN");
  static constexpr uint32_t CMD_SET_HPF_BYPASS  = makeControlId("SHPB");
  static constexpr uint32_t CMD_SET_BPF_SELECT  = makeControlId("SBPF");
  static constexpr uint32_t CMD_GET_STATE       = makeControlId("GSTA");
  static constexpr uint32_t CMD_CAL_STIM        = makeControlId("CAL!");
  static constexpr uint32_t CMD_GBYE            = makeControlId("GBYE");
  static constexpr uint32_t CMD_GET_VERSION     = makeControlId("GVER");
  static constexpr uint32_t CMD_LOAD_CPLD       = makeControlId("LCPL");

  /* Firmware and Protocol Version Constants */
  static constexpr uint16_t FW_VERSION_MAJOR    = 1;
  static constexpr uint16_t FW_VERSION_MINOR    = 0;
  static constexpr uint16_t FW_VERSION_PATCH    = 0;
  static constexpr uint32_t FW_PROTOCOL_MAGIC   = 0x4E585258; /* "NXRX" */

  /* Hardware Operational States */
  static constexpr uint32_t STATE_BOOTING          = 0;
  static constexpr uint32_t STATE_WAIT_CPLD_IMAGE  = 1;
  static constexpr uint32_t STATE_READY            = 2;
  static constexpr uint32_t STATE_STREAMING        = 3;
  static constexpr uint32_t STATE_ERROR            = 4;
};

} // namespace nexrx
```

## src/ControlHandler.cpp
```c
#include "ControlHandler.hpp"
#include "Control.hpp"
#include <zephyr/logging/log.h>
#include <zcbor_decode.h>
#include <zcbor_encode.h>
#include <cmath>

#include "TLV320ADC5140.hpp"
#include "Si5351Driver.hpp"
#include "CPLDDriver.hpp"
#include "FrontEndDriver.hpp"
#include "OSDCapture.hpp"
#include "DisplayManager.hpp"
#include "AGCManager.hpp"

LOG_MODULE_DECLARE(nexrx_main, LOG_LEVEL_INF);

namespace nexrx {

static constexpr double freqBoundary15MHz = 15000000.0;

/* Active waterfall viewport state for hysteresis evaluation */
static double currentViewportMinHz = 14000000.0;
static double currentViewportMaxHz = 14350000.0;
static bool currentFourPhaseMode = false;
static uint32_t currentVFOFreqHz = 14200000;
static uint32_t currentVFOOffsetHz = 12000;

ControlHandler& ControlHandler::instance() {
  static ControlHandler inst;
  return inst;
}

static void updateClockModeHysteresis(double minHz, double maxHz) {
  currentViewportMinHz = minHz;
  currentViewportMaxHz = maxHz;

  if (currentViewportMinHz > freqBoundary15MHz) {
    if (!currentFourPhaseMode) {
      currentFourPhaseMode = true;
      CPLDDriver::setClockMode(true); /* Switch to 4-phase QSD mode */
      OSDCapture::setFourPhaseMode(true);
      LOG_INF("Waterfall strictly above 15MHz: Switched CPLD & DSP to 4-phase QSD mode.");
    }
  } else if (currentViewportMaxHz < freqBoundary15MHz) {
    if (currentFourPhaseMode) {
      currentFourPhaseMode = false;
      CPLDDriver::setClockMode(false); /* Switch to 8-phase OSD mode */
      OSDCapture::setFourPhaseMode(false);
      LOG_INF("Waterfall strictly below 15MHz: Switched CPLD & DSP to 8-phase OSD mode.");
    }
  } else {
    LOG_INF("Waterfall spans 15MHz boundary: Preserved active mode (%s).",
            currentFourPhaseMode ? "4-phase" : "8-phase");
  }
}

static void sendSuccessResponse(ITransport& transport) {
  uint8_t outBuf[16];
  zcbor_state_t encState[2];
  zcbor_new_encode_state(encState, 2, outBuf, sizeof(outBuf), 1);
  zcbor_list_start_encode(encState, 10);
  zcbor_int32_put(encState, 0);
  zcbor_list_end_encode(encState, 10);
  transport.send(outBuf, encState->payload - outBuf);
}

static void sendVersionResponse(ITransport& transport) {
  uint8_t outBuf[64];
  zcbor_state_t encState[2];
  zcbor_new_encode_state(encState, 2, outBuf, sizeof(outBuf), 1);

  uint32_t hwState = CPLDDriver::isConfigured() ? Control::STATE_READY : Control::STATE_WAIT_CPLD_IMAGE;

  zcbor_list_start_encode(encState, 10);
  zcbor_int32_put(encState, 0); // Status OK
  zcbor_uint32_put(encState, Control::FW_PROTOCOL_MAGIC);
  zcbor_uint32_put(encState, Control::FW_VERSION_MAJOR);
  zcbor_uint32_put(encState, Control::FW_VERSION_MINOR);
  zcbor_uint32_put(encState, Control::FW_VERSION_PATCH);
  zcbor_uint32_put(encState, hwState);
  zcbor_list_end_encode(encState, 10);

  transport.send(outBuf, encState->payload - outBuf);
}

static void sendStateResponse(ITransport& transport) {
  uint8_t outBuf[64];
  zcbor_state_t encState[2];
  zcbor_new_encode_state(encState, 2, outBuf, sizeof(outBuf), 1);

  uint32_t hwState = CPLDDriver::isConfigured() ? Control::STATE_READY : Control::STATE_WAIT_CPLD_IMAGE;
  uint64_t tcxoCount = CPLDDriver::getLatchedTCXOCount(0);

  zcbor_list_start_encode(encState, 10);
  zcbor_int32_put(encState, 0); // Status OK
  zcbor_uint32_put(encState, hwState);
  zcbor_int32_put(encState, FrontEndDriver::getAttenuation());
  zcbor_int32_put(encState, FrontEndDriver::getBpfIndex());
  zcbor_bool_put(encState, FrontEndDriver::isHpfBypassed());
  zcbor_bool_put(encState, currentFourPhaseMode);
  zcbor_uint64_put(encState, tcxoCount);
  zcbor_list_end_encode(encState, 10);

  transport.send(outBuf, encState->payload - outBuf);
}

void ControlHandler::process(ITransport& transport) {
  static uint8_t buf[8192]; // Supports full ~7.1 KB CPLD bitstream in single CBOR payload
  int len = transport.receive(buf, sizeof(buf));
  if (len < 1) return;

  zcbor_state_t state[4];
  zcbor_new_decode_state(state, 4, buf, len, 1, nullptr, 0);
  if (!zcbor_list_start_decode(state)) return;

  uint32_t cmdID = 0;
  if (!zcbor_uint32_decode(state, &cmdID)) return;

  bool handled = false;

  switch (cmdID) {
    case Control::CMD_GET_VERSION: {
      sendVersionResponse(transport);
      handled = false; // Response already sent
      break;
    }

    case Control::CMD_GET_STATE: {
      sendStateResponse(transport);
      handled = false; // Response already sent
      break;
    }

    case Control::CMD_LOAD_CPLD: {
      struct zcbor_string bitstreamPayload;
      if (zcbor_bstr_decode(state, &bitstreamPayload)) {
        LOG_INF("Control: Received CPLD Bitstream (%u bytes). Programming...",
                static_cast<unsigned int>(bitstreamPayload.len));
        bool ok = CPLDDriver::programBitstream(bitstreamPayload.value, bitstreamPayload.len);
        if (ok) {
          DisplayManager::showStatus("READY");
          handled = true;
        } else {
          DisplayManager::showStatus("CPLD ERR");
          LOG_ERR("Control: CPLD Programming Failed!");
        }
      }
      break;
    }

    case Control::CMD_START_STREAM: {
      OSDCapture::start();
      LOG_INF("Control: Streaming started.");
      handled = true;
      break;
    }

    case Control::CMD_STOP_STREAM: {
      OSDCapture::stop();
      LOG_INF("Control: Streaming stopped.");
      handled = true;
      break;
    }

    case Control::CMD_SET_VFO: {
      double freq = 0.0, offset = 12000.0, spanHz = 384000.0;
      if (zcbor_float_decode(state, &freq)) {
        zcbor_float_decode(state, &offset);
        zcbor_float_decode(state, &spanHz);

        currentVFOFreqHz = static_cast<uint32_t>(freq);
        currentVFOOffsetHz = static_cast<uint32_t>(offset);

        double minHz = freq - (spanHz / 2.0);
        double maxHz = freq + (spanHz / 2.0);
        updateClockModeHysteresis(minHz, maxHz);

        FrontEndDriver::selectFilterBand(currentVFOFreqHz);
        Si5351Driver::setVFOFrequency(currentVFOFreqHz, currentVFOOffsetHz, currentFourPhaseMode);
        handled = true;
      }
      break;
    }

    case Control::CMD_SET_ATTEN: {
      int32_t db = 0;
      if (zcbor_int32_decode(state, &db)) {
        FrontEndDriver::setAttenuation(db);
        handled = true;
      }
      break;
    }

    case Control::CMD_SET_BPF_SELECT: {
      int32_t bpfIndex = 0;
      if (zcbor_int32_decode(state, &bpfIndex)) {
        FrontEndDriver::setBpfIndex(bpfIndex);
        handled = true;
      }
      break;
    }

    case Control::CMD_SET_HPF_BYPASS: {
      bool bypass = false;
      if (zcbor_bool_decode(state, &bypass)) {
        FrontEndDriver::setHpfBypass(bypass);
        handled = true;
      }
      break;
    }

    case Control::CMD_SET_PGA_GAIN: {
      int32_t code = 0;
      if (zcbor_int32_decode(state, &code)) {
        TLV320ADC5140::setPGAGain(static_cast<uint8_t>(code));
        handled = true;
      }
      break;
    }

    case Control::CMD_SET_AGC_MODE: {
      int32_t mode = 0;
      if (zcbor_int32_decode(state, &mode)) {
        AGCManager::setMode(static_cast<AGCManager::Mode>(mode));
        handled = true;
      }
      break;
    }

    default:
      LOG_WRN("Control: Unknown command 0x%08X", cmdID);
      break;
  }

  if (handled) {
    sendSuccessResponse(transport);
  }

  zcbor_list_end_decode(state);
}

} // namespace nexrx
```

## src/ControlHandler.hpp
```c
#pragma once

#include <zephyr/kernel.h>
#include <stdint.h>

namespace nexrx {

class ITransport {
public:
  virtual ~ITransport() = default;
  virtual int send(const uint8_t* data, size_t len) = 0;
  virtual int receive(uint8_t* data, size_t maxLen) = 0;
};

class ControlHandler {
public:
  static ControlHandler& instance();
  void process(ITransport& transport);

private:
  ControlHandler() = default;
};

} // namespace nexrx
```

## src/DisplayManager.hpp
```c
#pragma once

#include <zephyr/kernel.h>
#include <zephyr/drivers/display.h>

namespace nexrx {

class DisplayManager {
public:
  static void init();
  static void clear();
  static void showStatus(const char* status);
  static void drawSplash();

private:
  static void update();
  static const struct device* displayDev;
  static struct k_mutex displayMutex;
};

} // namespace nexrx
```
